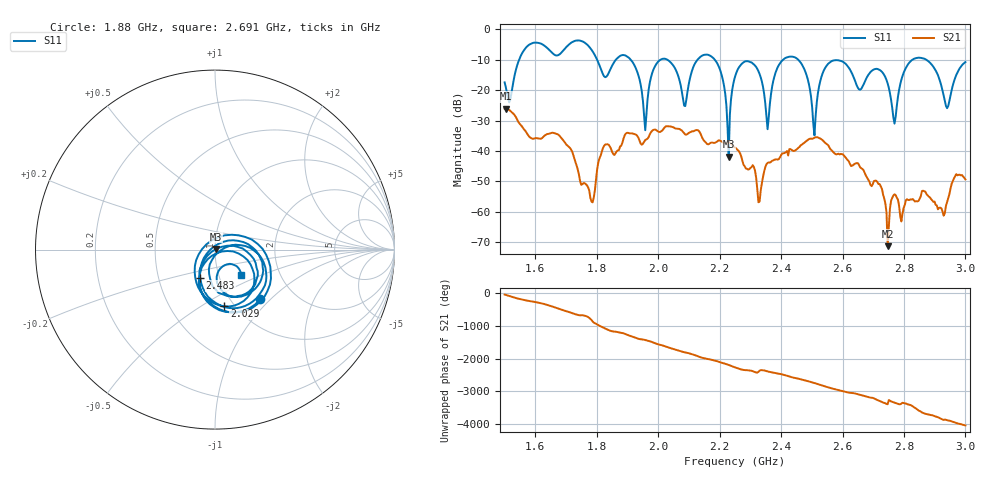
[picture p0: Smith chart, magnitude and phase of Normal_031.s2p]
# HZ S RI R 50
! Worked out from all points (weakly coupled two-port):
!   404 points, 1.5 GHz to 3 GHz, reference 50 ohm
!   highest |S21| = -26.01 dB at 1.504 GHz (marker M1); lowest = -71.3 dB at 2.747 GHz (marker M2)
!   lowest |S11| = -41.8 dB at 2.23 GHz (marker M3), VSWR 1.02, Z = 50.7 + j0.422 ohm
!   |S11| at or under -10 dB: 2.184 GHz to 2.406 GHz (221.8 MHz wide, 9.66 % of centre); 2.456 GHz to 2.827 GHz (370.8 MHz wide, 14 % of centre); 2.873 GHz to end of sweep (the widest 3 of 7)
!   S12 and S22 are empty: the file has one direction only
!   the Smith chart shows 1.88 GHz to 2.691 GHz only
!   S11 on the Smith chart (normalised r, x): 1.88 GHz: 1.34, -0.87; 2.029 GHz: 0.90, -0.63; 2.483 GHz: 0.81, -0.26; 2.691 GHz: 1.28, -0.37
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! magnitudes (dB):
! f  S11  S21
! 1.5 GHz  -17.4  -26.1
! 1.504 GHz  -18.9  -26.0
! 1.753 GHz  -3.9  -50.9
! 1.88 GHz  -8.5  -38.2
! 1.958 GHz  -33.1  -36.4
! 2.002 GHz  -10.3  -33.7
! 2.029 GHz  -9.9  -31.8
! 2.084 GHz  -25.0  -34.2
! 2.181 GHz  -9.6  -37.3
! 2.23 GHz  -41.8  -37.3
! 2.252 GHz  -15.0  -38.9
! 2.33 GHz  -14.7  -56.6
! 2.356 GHz  -32.8  -43.9
! 2.404 GHz  -10.2  -40.7
! 2.483 GHz  -15.0  -36.7
! 2.501 GHz  -25.7  -36.0
! 2.561 GHz  -10.6  -39.4
! 2.691 GHz  -14.0  -51.1
! 2.747 GHz  -17.8  -71.3
! 2.751 GHz  -19.2  -65.0
! 2.94 GHz  -25.9  -56.8
! 3 GHz  -10.7  -49.3
